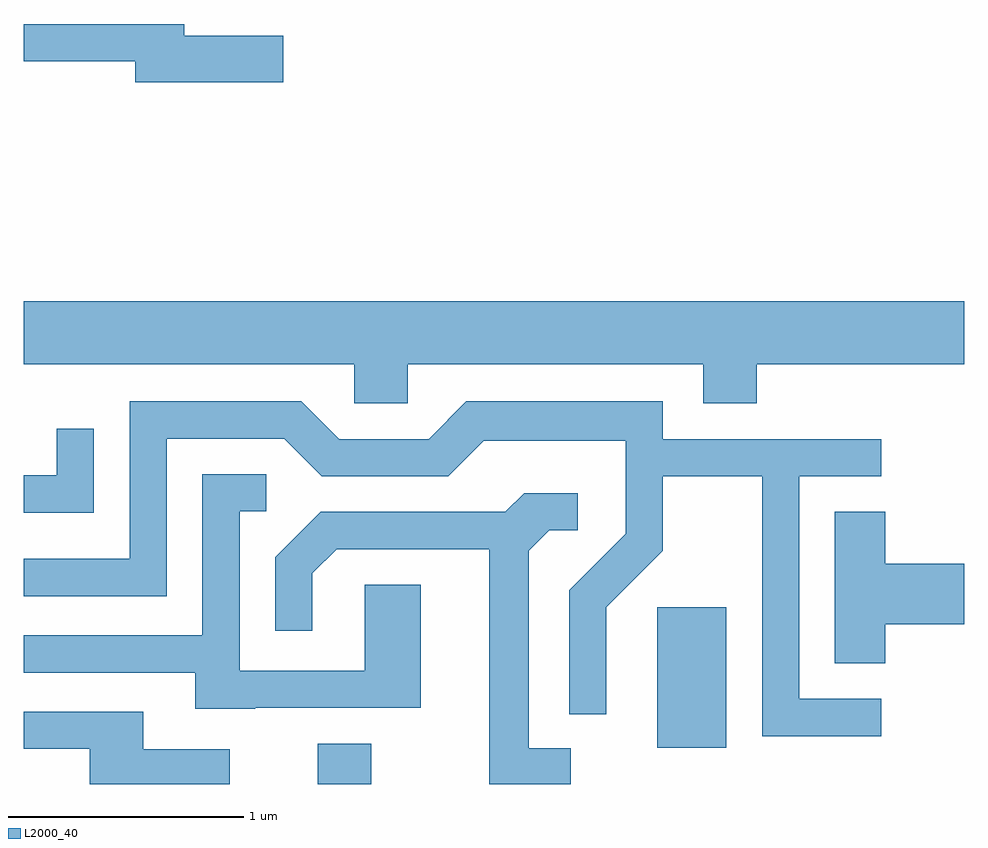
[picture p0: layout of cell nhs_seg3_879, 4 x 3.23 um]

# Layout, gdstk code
import gdstk
lib = gdstk.Library(unit=1e-6, precision=1e-09)
def R(c, l, rs):  # rectangles x0, y0, x1, y1
    for r in rs: c.add(gdstk.rectangle(r[:2], r[2:], *l))
def P(c, l, *ps):  # polygons
    for p in ps: c.add(gdstk.Polygon(p, *l))
L2000_40 = (2000, 40)

nhs_seg3_879 = lib.new_cell('nhs_seg3_879')
R(nhs_seg3_879, L2000_40, [(210.861,1241.892,211.089,1242.064), (212.306,1242.046,212.599,1242.644)])
P(nhs_seg3_879, L2000_40, [(210.714,1245.074),(210.294,1245.074),(210.294,1245.124),(209.611,1245.124),(209.611,1244.966),(210.086,1244.966),(210.086,1244.876),(210.714,1244.876)],
  [(211.244,1243.676),(212.501,1243.676),(212.501,1243.511),(212.729,1243.511),(212.729,1243.676),(213.611,1243.676),(213.611,1243.944),(209.611,1243.944),(209.611,1243.676),(211.016,1243.676),(211.016,1243.511),(211.244,1243.511)],
  [(213.258,1242.254),(212.909,1242.254),(212.909,1243.201),(213.258,1243.201),(213.258,1243.359),(212.329,1243.359),(212.329,1243.519),(211.494,1243.519),(211.334,1243.359),(210.952,1243.359),(210.792,1243.519),(210.061,1243.519),(210.061,1242.849),(209.611,1242.849),(209.611,1242.691),(210.219,1242.691),(210.219,1243.361),(210.719,1243.361),(210.879,1243.201),(211.417,1243.201),(211.567,1243.351),(212.171,1243.351),(212.171,1242.957),(211.931,1242.717),(211.931,1242.188),(212.089,1242.188),(212.089,1242.644),(212.329,1242.884),(212.329,1243.201),(212.751,1243.201),(212.751,1242.096),(213.258,1242.096)],
  [(209.909,1243.403),(209.751,1243.403),(209.751,1243.204),(209.611,1243.204),(209.611,1243.046),(209.909,1243.046)],
  [(210.595,1242.216),(211.299,1242.216),(211.299,1242.739),(211.061,1242.739),(211.061,1242.374),(210.529,1242.374),(210.529,1243.051),(210.643,1243.051),(210.643,1243.209),(210.371,1243.209),(210.371,1242.524),(209.611,1242.524),(209.611,1242.366),(210.341,1242.366),(210.341,1242.211),(210.595,1242.211)],
  [(211.938,1242.044),(211.759,1242.044),(211.759,1242.884),(211.847,1242.971),(211.968,1242.971),(211.968,1243.129),(211.739,1243.129),(211.659,1243.049),(210.874,1243.049),(210.681,1242.857),(210.681,1242.543),(210.839,1242.543),(210.839,1242.789),(210.942,1242.891),(211.591,1242.891),(211.591,1241.892),(211.938,1241.892)],
  [(213.274,1242.571),(213.611,1242.571),(213.611,1242.829),(213.274,1242.829),(213.274,1243.049),(213.061,1243.049),(213.061,1242.406),(213.274,1242.406)],
  [(210.488,1242.039),(210.119,1242.039),(210.119,1242.199),(209.611,1242.199),(209.611,1242.041),(209.891,1242.041),(209.891,1241.892),(210.488,1241.892)])

lib.write_gds('nhs_seg3_879.gds')
